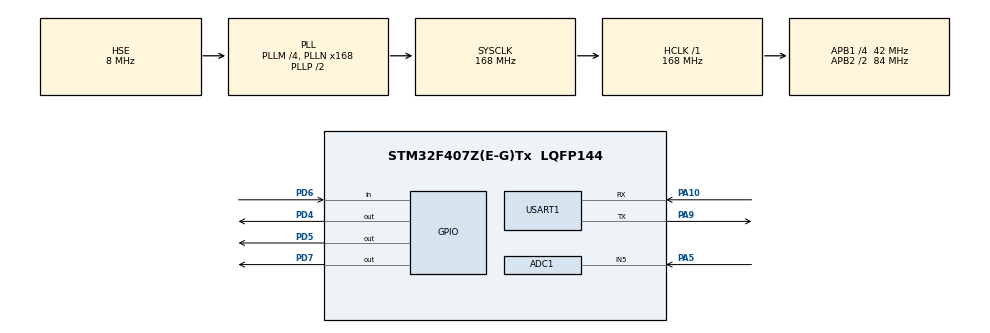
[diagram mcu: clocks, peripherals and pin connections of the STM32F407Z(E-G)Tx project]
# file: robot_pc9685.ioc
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ADC1.Channel-0\#ChannelRegularConversion=ADC_CHANNEL_5
ADC1.ClockPrescaler=ADC_CLOCK_SYNC_PCLK_DIV4
ADC1.ExternalTrigConv=ADC_EXTERNALTRIGCONV_T2_TRGO
ADC1.NbrOfConversion=1
ADC1.NbrOfConversionFlag=1
ADC1.Rank-0\#ChannelRegularConversion=1
ADC1.SamplingTime-0\#ChannelRegularConversion=ADC_SAMPLETIME_3CYCLES
ADC1.master=1
Mcu.Family=STM32F4
Mcu.Name=STM32F407Z(E-G)Tx
Mcu.Package=LQFP144
NVIC.ADC_IRQn=true\:2\:0\:true\:false\:true\:true\:true\:true
NVIC.PriorityGroup=NVIC_PRIORITYGROUP_4
PA10.Mode=Asynchronous
PA10.Signal=USART1_RX
PA13.Mode=Serial_Wire
PA13.Signal=SYS_JTMS-SWDIO
PA14.Mode=Serial_Wire
PA14.Signal=SYS_JTCK-SWCLK
PA5.Signal=ADCx_IN5
PA9.Mode=Asynchronous
PA9.Signal=USART1_TX
PD4.GPIO_Speed=GPIO_SPEED_FREQ_HIGH
PD4.Signal=GPIO_Output
PD5.Signal=GPIO_Output
PD6.GPIO_PuPd=GPIO_PULLDOWN
PD6.Signal=GPIO_Input
PD7.Signal=GPIO_Output
PH0-OSC_IN.Mode=HSE-External-Oscillator
PH0-OSC_IN.Signal=RCC_OSC_IN
PH1-OSC_OUT.Mode=HSE-External-Oscillator
PH1-OSC_OUT.Signal=RCC_OSC_OUT
ProjectManager.HeapSize=0x200
ProjectManager.StackSize=0x400
ProjectManager.TargetToolchain=MDK-ARM V5.32
RCC.48MHZClocksFreq_Value=84000000
RCC.AHBFreq_Value=168000000
RCC.APB1CLKDivider=RCC_HCLK_DIV4
RCC.APB1Freq_Value=42000000
RCC.APB1TimFreq_Value=84000000
RCC.APB2CLKDivider=RCC_HCLK_DIV2
RCC.APB2Freq_Value=84000000
RCC.APB2TimFreq_Value=168000000
RCC.CortexFreq_Value=168000000
RCC.HCLKFreq_Value=168000000
RCC.HSE_VALUE=8000000
RCC.HSI_VALUE=16000000
RCC.LSE_VALUE=32768
RCC.PLLM=4
RCC.PLLN=168
RCC.PLLSourceVirtual=RCC_PLLSOURCE_HSE
RCC.SYSCLKFreq_VALUE=168000000
RCC.SYSCLKSource=RCC_SYSCLKSOURCE_PLLCLK
RCC.VCOOutputFreq_Value=336000000
SH.ADCx_IN5.0=ADC1_IN5,IN5
TIM2.Period=99999
TIM2.Prescaler=8399
TIM2.TIM_MasterOutputTrigger=TIM_TRGO_UPDATE
USART1.VirtualMode=VM_ASYNC
VP_TIM2_VS_ClockSourceINT.Mode=Internal
board=custom

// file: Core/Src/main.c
/* USER CODE BEGIN Header */
/**
  ******************************************************************************
  * @file           : main.c
  * @brief          : Main program body
  ******************************************************************************
  * @attention
  *
  * Copyright (c) 2023 STMicroelectronics.
  * All rights reserved.
  *
  * This software is licensed under terms that can be found in the LICENSE file
  * in the root directory of this software component.
  * If no LICENSE file comes with this software, it is provided AS-IS.
  *
  ******************************************************************************
  */
/* USER CODE END Header */
#include "main.h"
#include "adc.h"
#include "tim.h"
#include "usart.h"
#include "gpio.h"

/* USER CODE BEGIN Includes */
#include "pca9685.h"
#include "math.h"
#include "key.h"
#include "oled.h"
#include "stdio.h"
/* USER CODE END Includes */

/* USER CODE BEGIN PD */
#define PI 3.14159f
#define L1 103.8f
#define L2 96.3f
#define L3 154.4f
#define MAX_SPEED 30
//#define PS2_MODE 0
#define USER_PRINTF
#ifdef USER_PRINTF
#define user_printf(aaa,...) printf(aaa"\n",##__VA_ARGS__)
#else
#define user_printf(format,...)
#endif
/* USER CODE END PD */

/* USER CODE BEGIN PV */
int fputc(int ch,FILE *f)
{
	uint8_t temp[1]={ch};
	if(HAL_UART_Transmit(&huart1,temp,1,0xffff)!=HAL_OK)
		Error_Handler();
	return ch;
}
/* USER CODE END PV */

void SystemClock_Config(void);
/* USER CODE BEGIN PFP */
void joint_init(void);
void joint_angle(uint8_t joint,int angle,uint8_t sped);
//#if !PS2_MODE
//uint8_t robot_control(float y,float z,float Alpha);
//void joint_angle_mode0(int ang1,int ang2,int ang3,uint8_t speed);
//#endif
/* USER CODE END PFP */

/* USER CODE BEGIN 0 */
uint8_t speed=10;
uint16_t joint_zero[7]={307,307,315,307,307,315,307};
uint16_t joint_max_angle[7]={300,270,270,270,270,180,270};
int joint_angle_now[7]={0,0,0,0,0,0,0};
/* USER CODE END 0 */

int main(void)
{

  /* MCU Configuration--------------------------------------------------------*/

  /* Reset of all peripherals, Initializes the Flash interface and the Systick. */
  HAL_Init();

  /* Configure the system clock */
  SystemClock_Config();

  /* Initialize all configured peripherals */
  MX_GPIO_Init();
  MX_USART1_UART_Init();
  MX_ADC1_Init();
  MX_TIM2_Init();
  /* USER CODE BEGIN 2 */
	uint8_t key=0;
	joint_init();
	OLED_Init();
	OLED_ShowChinese(0,24,4,24,1);
	OLED_ShowChinese(24,24,5,24,1);
	OLED_ShowChar(48,24,':',24,1);
	OLED_Refresh();
	HAL_TIM_Base_Start(&htim2);
	HAL_ADC_Start_IT(&hadc1);
	HAL_Delay(1000);

  /* USER CODE END 2 */

  /* Infinite loop */
  while (1)
  {
		    // 初始化I2C
    IIC_Init();

    // 设置PWM频率为50Hz
    setPWMFreq(50);

    // 设置第0通道的PWM，on为100，off为400
    setPWM(0, 100, 400);
		setServoAngle(0,90.0);
    while (1)
    {
        setServoAngle(0, 90.0);
        delay_ms(1000);
    }
    /* USER CODE BEGIN 3 */
		#if PS2_MODE
		static int ps_angle[7]={0};
		key = KEY_SCAN();
		user_printf("J1=%d,J2=%d,J3=%d,J4=%d",joint_angle_now[1],joint_angle_now[2],joint_angle_now[3],joint_angle_now[4]);
		user_printf("J5=%d,J6=%d,speed=%d",joint_angle_now[5],joint_angle_now[6],speed);
		if(1)
		{
			if(key==1&&ps_angle[1]!=joint_max_angle[1]/2)
				ps_angle[1]++;
			if(key==2&&ps_angle[1]!=-joint_max_angle[1]/2)
				ps_angle[1]--;
			joint_angle(1,ps_angle[1],speed);
			if(key==3&&ps_angle[2]!=90)
				ps_angle[2]++;
			if(key==4&&ps_angle[2]!=-90)
				ps_angle[2]--;
			joint_angle(2,ps_angle[2],speed);

			if(key==5&&ps_angle[3]!=55)
				ps_angle[3]++;
			if(key==6&&ps_angle[3]!=-joint_max_angle[3]/2)
				ps_angle[3]--;
			joint_angle(3,ps_angle[3],speed);

			if(key==7&&ps_angle[4]!=joint_max_angle[4]/2)
				ps_angle[4]++;
			if(key==8&&ps_angle[4]!=-20)
				ps_angle[4]--;
			joint_angle(4,ps_angle[4],speed);

			if(key==9&&ps_angle[5]!=joint_max_angle[5]/2)
				ps_angle[5]++;
			if(key==10&&ps_angle[5]!=-joint_max_angle[5]/2)
				ps_angle[5]--;
			joint_angle(5,ps_angle[5],speed);

			if(key==11&&ps_angle[6]!=90)
				ps_angle[6]++;
			if(key==12&&ps_angle[6]!=-70)
				ps_angle[6]--;
			joint_angle(6,ps_angle[6],speed);

			if(key==13&&speed!=0)
			{
				speed--;
				HAL_Delay(500);
			}
			if(key==14&&speed!=MAX_SPEED)
			{
				speed++;
				HAL_Delay(500);
			}

		}
		else
			user_printf("error");
		#else
		static float y=L2+L3;
		static float z=L1;
		static float alpha =0;
		static int ps_angle[3]={0};
		static float last_y=L2+L3;
		static float last_z=L1;
		static float last_alpha =0;
		//user_printf("%d",speed);
		key = KEY_SCAN();
		if(1)
		{
				if(key==1)
					y+=5;
				if(key==2)
					y-=5;
				if(key==3)
					z+=5;
				if(key==4)
					z-=5;
				if(key==13&&alpha<0)
					alpha+=0.1f;
				if(key==14&&alpha>-PI/2)
					alpha-=0.1f;
				if(last_y!=y||last_z!=z||last_alpha!=alpha)
				{
					if(robot_control(y,z,alpha))
					{
						last_y=y;
						last_z=z;
						last_alpha=alpha;
					}
					else
						y=last_y;
						z=last_z;
						alpha=last_alpha;
				}
				if(key==5&&ps_angle[0]!=joint_max_angle[1]/2)
					ps_angle[0]++;
				if(key==6&&ps_angle[0]!=-joint_max_angle[1]/2)
					ps_angle[0]--;
				joint_angle(1,ps_angle[0],speed);

				if(key==7&&ps_angle[1]!=joint_max_angle[5]/2)
					ps_angle[1]++;
				if(key==8&&ps_angle[1]!=-joint_max_angle[5]/2)
					ps_angle[1]--;
				joint_angle(5,ps_angle[1],speed);

				if(key==9&&ps_angle[2]!=90)
					ps_angle[2]++;
				if(key==10&&ps_angle[2]!=-70)
					ps_angle[2]--;
				joint_angle(6,ps_angle[2],speed);

				if(key==11&&speed!=0)
				{
					speed--;
					HAL_Delay(500);
				}
				if(key==12&&speed!=MAX_SPEED)
				{
					speed++;
					HAL_Delay(500);
				}
		}
		HAL_Delay(5);
		#endif
	}
  /* USER CODE END 3 */
}

void SystemClock_Config(void)
{
  RCC_OscInitTypeDef RCC_OscInitStruct = {0};
  RCC_ClkInitTypeDef RCC_ClkInitStruct = {0};

  /** Configure the main internal regulator output voltage
  */
  __HAL_RCC_PWR_CLK_ENABLE();
  __HAL_PWR_VOLTAGESCALING_CONFIG(PWR_REGULATOR_VOLTAGE_SCALE1);

  /** Initializes the RCC Oscillators according to the specified parameters
  * in the RCC_OscInitTypeDef structure.
  */
  RCC_OscInitStruct.OscillatorType = RCC_OSCILLATORTYPE_HSE;
  RCC_OscInitStruct.HSEState = RCC_HSE_ON;
  RCC_OscInitStruct.PLL.PLLState = RCC_PLL_ON;
  RCC_OscInitStruct.PLL.PLLSource = RCC_PLLSOURCE_HSE;
  RCC_OscInitStruct.PLL.PLLM = 4;
  RCC_OscInitStruct.PLL.PLLN = 168;
  RCC_OscInitStruct.PLL.PLLP = RCC_PLLP_DIV2;
  RCC_OscInitStruct.PLL.PLLQ = 4;
  if (HAL_RCC_OscConfig(&RCC_OscInitStruct) != HAL_OK)
  {
    Error_Handler();
  }

  /** Initializes the CPU, AHB and APB buses clocks
  */
  RCC_ClkInitStruct.ClockType = RCC_CLOCKTYPE_HCLK|RCC_CLOCKTYPE_SYSCLK
                              |RCC_CLOCKTYPE_PCLK1|RCC_CLOCKTYPE_PCLK2;
  RCC_ClkInitStruct.SYSCLKSource = RCC_SYSCLKSOURCE_PLLCLK;
  RCC_ClkInitStruct.AHBCLKDivider = RCC_SYSCLK_DIV1;
  RCC_ClkInitStruct.APB1CLKDivider = RCC_HCLK_DIV4;
  RCC_ClkInitStruct.APB2CLKDivider = RCC_HCLK_DIV2;

  if (HAL_RCC_ClockConfig(&RCC_ClkInitStruct, FLASH_LATENCY_5) != HAL_OK)
  {
    Error_Handler();
  }
}

/* USER CODE BEGIN 4 */
void HAL_ADC_ConvCpltCallback(ADC_HandleTypeDef* hadc)
{
	int32_t adc_data = HAL_ADC_GetValue(&hadc1);
	OLED_ShowNum(0,0,adc_data,4,24,1);
	adc_data-=2930;
	float data = adc_data*1.0f/1166;
	if(data<0)
		data=0;
	adc_data=data*100;
	OLED_ShowNum(60,24,adc_data,2,24,1);
	OLED_Refresh();
}
#if !PS2_MODE
//1:可以到达，0：不能到达
uint8_t robot_control(float x,float y,float Alpha)
{
		int ang[3];
		float theta1,theta2,theta3;
		float x1,y1;
		float bet,t;
		x1=x-L3*cosf(Alpha);
		y1=y-L3*sinf(Alpha);
		if((x1*x1+y1*y1)>(L1+L2)*(L1+L2))
		{
			user_printf("无解");
			return 0;
		}
		bet=(x1*x1+y1*y1+L1*L1-L2*L2)/(2*L1*sqrtf(x1*x1+y1*y1));
		bet=acosf(bet);
		t=atan2f(y1,x1);
		theta1=(bet+t)*180/PI;
		theta2=(L1*L1+L2*L2-x1*x1-y1*y1)/(2*L1*L2);
		theta2=acosf(theta2)*180/PI-180;
		theta3=Alpha*180/PI-theta1-theta2;

		user_printf("j2=%.0f,j3=%.0f,j4=%.0f",theta1,theta2,theta3);
		user_printf("y=%.1f,z=%.1f,alpha=%.1f",x,y,Alpha*180/PI);

		if(theta1>=180||theta1<=0)
		{
			user_printf("关节2受限");
			return 0;
		}
		if(theta2<=-145||theta2>=45)
		{
			user_printf("关节3受限");
			return 0;
		}
		if(theta3>=20||theta3<=-135)
		{
			user_printf("关节4受限");
			return 0;
		}
		ang[0]=(int)round(theta1-90);
		ang[1]=(int)round(theta2+90);
		ang[2]=(int)round(theta3);

		joint_angle_mode0(ang[0],-ang[1],-ang[2],speed);
		return 1;
}
void joint_angle_mode0(int ang1,int ang2,int ang3,uint8_t speed)
{
	int pwm[3];
	while(joint_angle_now[2]!=ang1||joint_angle_now[3]!=ang2||joint_angle_now[4]!=ang3)
	{
		if(joint_angle_now[2]<ang1)
			joint_angle_now[2]++;
		else if(joint_angle_now[2]>ang1)
			joint_angle_now[2]--;
		pwm[0]=(int)round(joint_angle_now[2]*4096*2.0/joint_max_angle[2]/20);

		if(joint_angle_now[3]<ang2)
			joint_angle_now[3]++;
		else if(joint_angle_now[3]>ang2)
			joint_angle_now[3]--;
		pwm[1]=(int)round(joint_angle_now[3]*4096*2.0/joint_max_angle[3]/20);

		if(joint_angle_now[4]<ang3)
			joint_angle_now[4]++;
		else if(joint_angle_now[4]>ang3)
			joint_angle_now[4]--;
		pwm[2]=(int)round(joint_angle_now[4]*4096*2.0/joint_max_angle[4]/20);
		setPWM(2,0,joint_zero[2]+pwm[0]);
		setPWM(3,0,joint_zero[3]+pwm[1]);
		setPWM(4,0,joint_zero[4]+pwm[2]);
		HAL_Delay(MAX_SPEED-speed);
	}
}
#endif
void joint_init()
{
	IIC_Init();
	PCA9685_write(PCA9685_MODE1,0x00);
	setPWMFreq(50);
	for(uint8_t i=0;i<7;i++)
	{
		setPWM(i,0,joint_zero[i]);

	}
}
void joint_angle(uint8_t joint,int angle,uint8_t speed)
{
	int pwm;
	if(joint<=6&&joint>=0)
	{
		while(joint_angle_now[joint]!=angle)
		{
			if(joint_angle_now[joint]<angle)
				joint_angle_now[joint]++;
			else if(joint_angle_now[joint]>angle)
				joint_angle_now[joint]--;
			pwm=(int)round(joint_angle_now[joint]*4096*2.0/joint_max_angle[joint]/20);
			setPWM(joint,0,joint_zero[joint]+pwm);
			HAL_Delay(MAX_SPEED+5-speed);
		}
	}
}
/* USER CODE END 4 */

void Error_Handler(void)
{
  __disable_irq();
  while (1)
  {
  }
}
